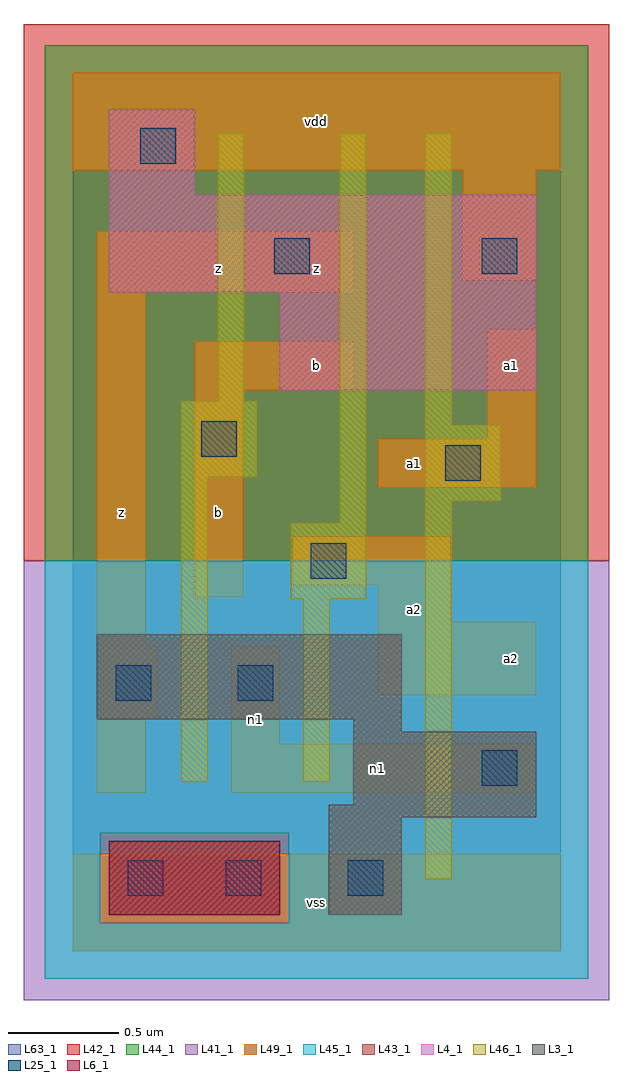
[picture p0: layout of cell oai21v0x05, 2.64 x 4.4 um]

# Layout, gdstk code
import gdstk
lib = gdstk.Library(unit=1e-6, precision=1e-09)
def R(c, l, rs):  # rectangles x0, y0, x1, y1
    for r in rs: c.add(gdstk.rectangle(r[:2], r[2:], *l))
L3_1 = (3, 1)
L4_1 = (4, 1)
L6_1 = (6, 1)
L25_1 = (25, 1)
L41_1 = (41, 1)
L42_1 = (42, 1)
L43_1 = (43, 1)
L44_1 = (44, 1)
L45_1 = (45, 1)
L46_1 = (46, 1)
L49_1 = (49, 1)
L63_1 = (63, 1)

oai21v0x05 = lib.new_cell('oai21v0x05')
R(oai21v0x05, L3_1, [(1.155,0.165,1.485,0.605), (1.155,0.605,2.09,0.66), (1.265,0.66,2.09,0.99), (1.265,0.99,1.485,1.045), (0.11,1.045,1.485,1.43)])
R(oai21v0x05, L4_1, [(0.935,2.53,2.09,2.97), (0.165,2.97,2.09,3.41), (0.165,3.41,0.55,3.795)])
R(oai21v0x05, L6_1, [(0.165,0.165,0.935,0.495)])
R(oai21v0x05, L25_1, [(0.25,0.25,0.41,0.41), (0.69,0.25,0.85,0.41), (1.24,0.25,1.4,0.41), (1.845,0.745,2.005,0.905), (0.195,1.13,0.355,1.29), (0.745,1.13,0.905,1.29), (1.075,1.68,1.235,1.84), (1.68,2.12,1.84,2.28), (0.58,2.23,0.74,2.39), (0.91,3.055,1.07,3.215), (1.845,3.055,2.005,3.215), (0.305,3.55,0.465,3.71)])
R(oai21v0x05, L41_1, [(-0.22,-0.22,2.42,1.76)])
R(oai21v0x05, L42_1, [(-0.22,1.76,2.42,4.18)])
R(oai21v0x05, L43_1, [(0.165,0.165,0.935,0.495), (1.155,0.165,1.485,0.605), (1.155,0.605,2.09,0.66), (1.265,0.66,2.09,0.99), (1.265,0.99,1.485,1.045), (0.11,1.045,1.485,1.43), (0.935,2.53,2.09,2.97), (0.165,2.97,2.09,3.41), (0.165,3.41,0.55,3.795)])
R(oai21v0x05, L44_1, [(0.125,0.125,0.975,0.535), (-0.125,1.76,2.325,4.085)])
R(oai21v0x05, L45_1, [(-0.125,-0.125,2.325,0.125), (-0.125,0.125,0.125,0.535), (0.975,0.125,2.325,0.535), (-0.125,0.535,2.325,1.76)])
R(oai21v0x05, L46_1, [(1.59,0.325,1.71,2.03), (0.49,0.765,0.61,2.14), (1.04,0.765,1.16,1.59), (0.985,1.59,1.325,1.93), (1.205,1.93,1.325,3.69), (1.59,2.03,1.93,2.37), (0.49,2.14,0.83,2.48), (1.59,2.37,1.71,3.69), (0.655,2.48,0.775,3.69)])
R(oai21v0x05, L49_1, [(0,0,2.2,0.44), (0.11,0.715,0.33,1.045), (0.715,0.715,2.09,0.935), (0.715,0.935,0.935,1.375), (0.11,1.045,0.385,1.375), (1.375,1.155,2.09,1.485), (0.11,1.375,0.33,2.97), (1.375,1.485,1.705,1.65), (0.55,1.595,0.77,2.53), (0.99,1.65,1.705,1.87), (1.375,2.09,2.09,2.31), (1.87,2.31,2.09,2.805), (0.55,2.53,1.265,2.75), (0.11,2.97,1.265,3.245), (1.76,3.025,2.09,3.52), (0,3.52,2.2,3.96)])
R(oai21v0x05, L63_1, [(0,0,2.2,3.96)])
oai21v0x05.add(gdstk.Label('z', (0.22,1.98), layer=49, texttype=1))
oai21v0x05.add(gdstk.Label('n1', (0.825,1.045), layer=49, texttype=1))
oai21v0x05.add(gdstk.Label('b', (0.66,1.98), layer=49, texttype=1))
oai21v0x05.add(gdstk.Label('z', (0.66,3.08), layer=49, texttype=1))
oai21v0x05.add(gdstk.Label('vss', (1.1,0.22), layer=49, texttype=1))
oai21v0x05.add(gdstk.Label('a2', (1.54,1.54), layer=49, texttype=1))
oai21v0x05.add(gdstk.Label('a1', (1.54,2.2), layer=49, texttype=1))
oai21v0x05.add(gdstk.Label('b', (1.1,2.64), layer=49, texttype=1))
oai21v0x05.add(gdstk.Label('z', (1.1,3.08), layer=49, texttype=1))
oai21v0x05.add(gdstk.Label('vdd', (1.1,3.74), layer=49, texttype=1))
oai21v0x05.add(gdstk.Label('n1', (1.375,0.825), layer=49, texttype=1))
oai21v0x05.add(gdstk.Label('a2', (1.98,1.32), layer=49, texttype=1))
oai21v0x05.add(gdstk.Label('a1', (1.98,2.64), layer=49, texttype=1))

lib.write_gds('oai21v0x05.gds')
